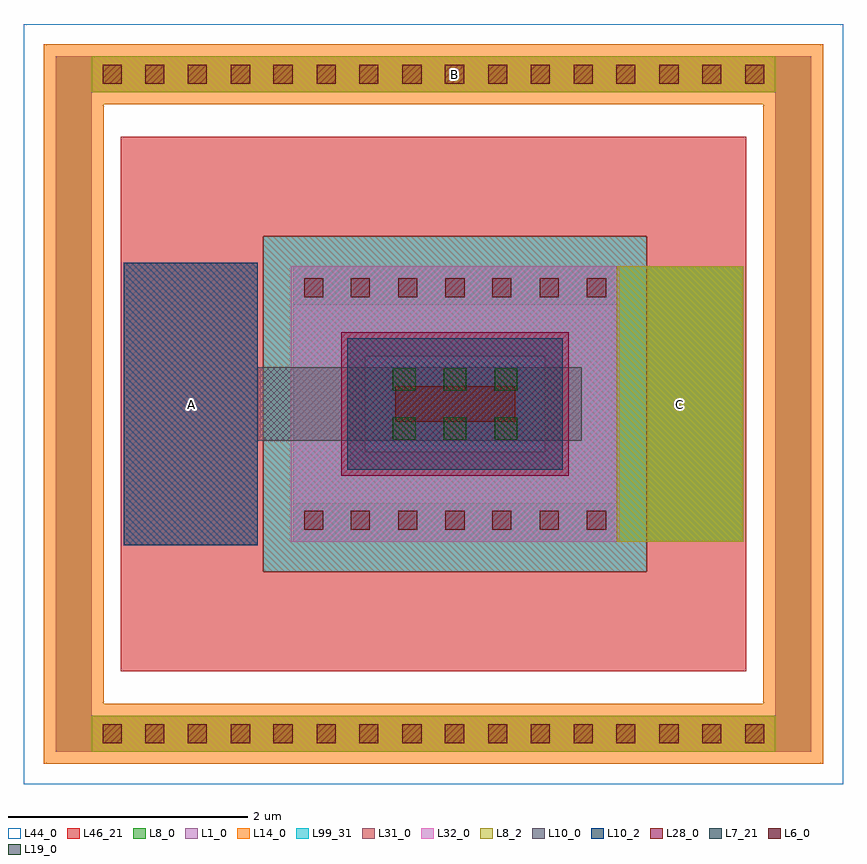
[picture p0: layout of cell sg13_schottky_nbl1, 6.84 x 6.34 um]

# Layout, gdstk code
from math import pi, radians
import gdstk
lib = gdstk.Library(unit=1e-6, precision=1e-09)
def R(c, l, rs):  # rectangles x0, y0, x1, y1
    for r in rs: c.add(gdstk.rectangle(r[:2], r[2:], *l))
def A(c, l, x, y, w, h, nx, ny, dx, dy):  # array of equal rectangles
    R(c, l, [(x+i*dx, y+j*dy, x+i*dx+w, y+j*dy+h) for i in range(nx) for j in range(ny)])
L1_0 = (1, 0)
L6_0 = (6, 0)
L7_21 = (7, 21)
L8_0 = (8, 0)
L8_2 = (8, 2)
L10_0 = (10, 0)
L10_2 = (10, 2)
L14_0 = (14, 0)
L19_0 = (19, 0)
L28_0 = (28, 0)
L31_0 = (31, 0)
L32_0 = (32, 0)
L44_0 = (44, 0)
L46_21 = (46, 21)
L99_31 = (99, 31)

schottky = lib.new_cell('schottky')
R(schottky, L1_0, [(-2.3,-2.38,3.5,-2.08), (-2.3,-2.08,-2,3.62), (3.2,-2.08,3.5,3.62), (-0.55,-0.4,1.75,2.3), (-2.3,3.62,3.5,3.92)])
A(schottky, L6_0, -2.23, -1.99, 0.16, 0.16, 1, 3, 0, 0.355)
A(schottky, L6_0, 3.27, -1.99, 0.16, 0.16, 1, 3, 0, 0.355)
A(schottky, L6_0, -0.45, 0.08, 0.16, 0.16, 1, 3, 0, 0.395)
A(schottky, L6_0, 1.49, 0.08, 0.16, 0.16, 1, 3, 0, 0.395)
A(schottky, L6_0, -0.45, 1.26, 0.16, 0.16, 1, 3, 0, 0.395)
A(schottky, L6_0, 1.49, 1.26, 0.16, 0.16, 1, 3, 0, 0.395)
R(schottky, L6_0, [(-2.23,-0.92,-2.07,-0.76), (3.27,-0.92,3.43,-0.76), (-2.23,-0.565,-2.07,-0.405), (3.27,-0.565,3.43,-0.405), (-0.45,-0.31,-0.29,-0.15), (1.49,-0.31,1.65,-0.15), (-2.23,-0.205,-2.07,-0.045), (3.27,-0.205,3.43,-0.045), (-2.23,0.15,-2.07,0.31), (3.27,0.15,3.43,0.31), (0.45,0.45,0.75,1.45), (-2.23,0.51,-2.07,0.67), (3.27,0.51,3.43,0.67), (-2.23,0.865,-2.07,1.025), (3.27,0.865,3.43,1.025), (-2.23,1.225,-2.07,1.385), (3.27,1.225,3.43,1.385), (-2.23,1.58,-2.07,1.74), (3.27,1.58,3.43,1.74), (-2.23,1.94,-2.07,2.1), (3.27,1.94,3.43,2.1), (-2.23,2.295,-2.07,2.455), (3.27,2.295,3.43,2.455), (-2.23,2.655,-2.07,2.815), (3.27,2.655,3.43,2.815), (-2.23,3.01,-2.07,3.17), (3.27,3.01,3.43,3.17), (-2.23,3.37,-2.07,3.53), (3.27,3.37,3.43,3.53)])
R(schottky, L7_21, [(0.05,0.05,1.15,1.85)])
R(schottky, L8_0, [(-2.3,-2.08,-2,3.62), (3.2,-2.08,3.5,3.62), (-0.55,-0.4,-0.51,2.3), (-0.51,-0.4,-0.23,2.3), (1.43,-0.4,1.71,2.3), (1.71,-0.4,1.75,2.3), (0.25,0.38,0.54,1.52), (0.25,0.38,0.54,1.52), (0.25,0.38,0.54,1.52), (0.4,0.38,0.8,1.52), (0.66,0.38,0.95,1.52), (0.66,0.38,0.95,1.52), (0.66,0.38,0.95,1.52), (0.29,0.42,0.5,1.48), (0.7,0.42,0.91,1.48), (-0.55,2.3,1.75,3.355)])
R(schottky, L8_2, [(-2.3,-2.08,-2,3.62), (3.2,-2.08,3.5,3.62), (-0.55,2.3,1.75,3.355)])
R(schottky, L10_0, [(-0.58,-1.815,1.78,-0.695), (0.295,-0.695,0.905,2.005)])
R(schottky, L10_2, [(-0.58,-1.815,1.78,-0.695)])
R(schottky, L14_0, [(-2.4,-2.48,3.6,-1.98), (-2.4,-1.98,-1.9,3.52), (3.1,-1.98,3.6,3.52), (-2.4,3.52,3.6,4.02)])
A(schottky, L19_0, 0.3, 0.43, 0.19, 0.19, 1, 3, 0, 0.425)
A(schottky, L19_0, 0.71, 0.43, 0.19, 0.19, 1, 3, 0, 0.425)
R(schottky, L28_0, [(0,0,1.2,1.9)])
R(schottky, L31_0, [(-0.8,-0.65,2,0.2), (-0.8,0.2,0.2,1.7), (1,0.2,2,1.7), (-0.8,1.7,2,2.55)])
R(schottky, L32_0, [(-0.55,-0.42,1.75,2.32)])
R(schottky, L44_0, [(-2.57,-2.65,3.77,4.19)])
R(schottky, L46_21, [(-1.63,-1.84,2.83,-0.65), (-1.63,-0.65,-0.8,2.55), (2,-0.65,2.83,2.55), (0.2,0.2,1,1.7), (-1.63,2.55,2.83,3.38)])
R(schottky, L99_31, [(-0.8,-0.65,2,2.55)])
schottky.add(gdstk.Label('schottky', (0.018,-0.59), layer=63, texttype=0))

sg13_schottky_nbl1 = lib.new_cell('sg13_schottky_nbl1')
R(sg13_schottky_nbl1, L8_2, [(5.41,3.105,5.54,3.235), (3.53,5.855,3.66,5.985)])
R(sg13_schottky_nbl1, L10_2, [(1.34,3.105,1.47,3.235)])
sg13_schottky_nbl1.add(gdstk.FlexPath([(0.57,0.42),(0.42,0.42),(0.42,5.92),(0.57,5.92),(0.57,5.92)], 0.3, ends="flush", simple_path=True, layer=8, datatype=0))  # L8_0
sg13_schottky_nbl1.add(gdstk.FlexPath([(6.27,5.92),(6.42,5.92),(6.42,0.42),(6.27,0.42)], 0.3, ends="flush", simple_path=True, layer=8, datatype=0))  # L8_0
sg13_schottky_nbl1.add(gdstk.Reference(schottky, (2.65,3.77), rotation=3*pi/2))
sg13_schottky_nbl1.add(gdstk.Label('B', (3.595,5.92), layer=8, texttype=25))
sg13_schottky_nbl1.add(gdstk.Label('C', (5.475,3.17), layer=8, texttype=25))
sg13_schottky_nbl1.add(gdstk.Label('A', (1.405,3.17), layer=10, texttype=25))

lib.write_gds('sg13_schottky_nbl1.gds')
